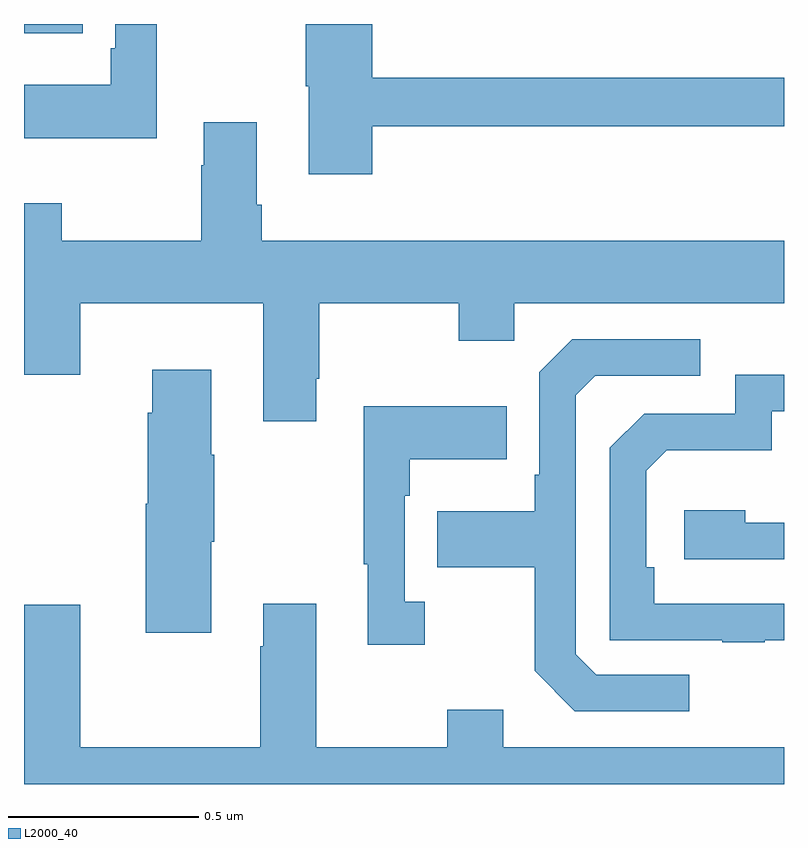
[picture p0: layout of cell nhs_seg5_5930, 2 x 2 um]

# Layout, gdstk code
import gdstk
lib = gdstk.Library(unit=1e-6, precision=1e-09)
def R(c, l, rs):  # rectangles x0, y0, x1, y1
    for r in rs: c.add(gdstk.rectangle(r[:2], r[2:], *l))
def P(c, l, *ps):  # polygons
    for p in ps: c.add(gdstk.Polygon(p, *l))
L2000_40 = (2000, 40)

nhs_seg5_5930 = lib.new_cell('nhs_seg5_5930')
R(nhs_seg5_5930, L2000_40, [(189,886.775,189.155,886.799)])
P(nhs_seg5_5930, L2000_40, [(189.917,886.53),(191,886.53),(191,886.658),(189.917,886.658),(189.917,886.799),(189.742,886.799),(189.742,886.635),(189.749,886.635),(189.749,886.404),(189.917,886.404)],
  [(189.349,886.799),(189.24,886.799),(189.24,886.735),(189.228,886.735),(189.228,886.639),(189,886.639),(189,886.499),(189.349,886.499)],
  [(189.769,885.865),(189.777,885.865),(189.777,886.064),(190.144,886.064),(190.144,885.965),(190.29,885.965),(190.29,886.064),(191,886.064),(191,886.228),(189.626,886.228),(189.626,886.324),(189.613,886.324),(189.613,886.54),(189.473,886.54),(189.473,886.427),(189.466,886.427),(189.466,886.228),(189.099,886.228),(189.099,886.327),(189,886.327),(189,885.876),(189.148,885.876),(189.148,886.064),(189.629,886.064),(189.629,885.753),(189.769,885.753)],
  [(190.75,885.087),(190.506,885.087),(190.452,885.141),(190.452,885.822),(190.503,885.873),(190.78,885.873),(190.78,885.969),(190.443,885.969),(190.356,885.882),(190.356,885.613),(190.344,885.613),(190.344,885.517),(190.087,885.517),(190.087,885.37),(190.344,885.37),(190.344,885.097),(190.449,884.991),(190.75,884.991)],
  [(189.493,885.437),(189.501,885.437),(189.501,885.665),(189.493,885.665),(189.493,885.889),(189.338,885.889),(189.338,885.776),(189.326,885.776),(189.326,885.537),(189.32,885.537),(189.32,885.197),(189.493,885.197)],
  [(190.949,885.177),(191,885.177),(191,885.273),(190.658,885.273),(190.658,885.37),(190.638,885.37),(190.638,885.624),(190.691,885.677),(190.968,885.677),(190.968,885.78),(191,885.78),(191,885.876),(190.872,885.876),(190.872,885.774),(190.632,885.774),(190.542,885.684),(190.542,885.177),(190.837,885.177),(190.837,885.172),(190.949,885.172)],
  [(190.054,885.278),(190.002,885.278),(190.002,885.557),(190.015,885.557),(190.015,885.653),(190.271,885.653),(190.271,885.793),(189.894,885.793),(189.894,885.377),(189.905,885.377),(189.905,885.165),(190.054,885.165)],
  [(191,885.486),(190.898,885.486),(190.898,885.52),(190.737,885.52),(190.737,885.39),(191,885.39)],
  [(191,884.896),(190.261,884.896),(190.261,884.995),(190.114,884.995),(190.114,884.896),(189.769,884.896),(189.769,885.274),(189.629,885.274),(189.629,885.161),(189.622,885.161),(189.622,884.896),(189.148,884.896),(189.148,885.271),(189,885.271),(189,884.799),(191,884.799)])

lib.write_gds('nhs_seg5_5930.gds')
